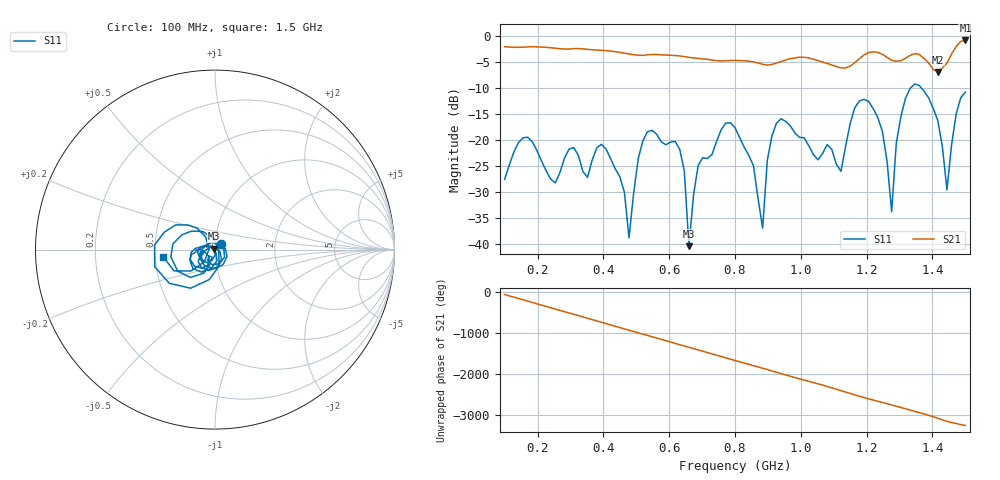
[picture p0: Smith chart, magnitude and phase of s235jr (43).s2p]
! NanoVNA-App
! Date: 2025-09-25 15:04:29
! Start: 100MHz Stop: 1,5GHz Points: 101
! S-Parameter data: F S11 S21 S12 S22
# Hz S RI R 50
!  Frequency  S11_Real  S11_Imag  S21_Real  S21_Imag  S12_Real  S12_Imag  S22_Real  S22_Imag
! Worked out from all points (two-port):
!   101 points, 100 MHz to 1.5 GHz, reference 50 ohm
!   highest |S21| = -0.76 dB at 1.5 GHz (marker M1); lowest = -6.8 dB at 1.416 GHz (marker M2)
!   |S21| within 3 dB of the highest: start of sweep to 634.7 MHz; 1.188 GHz to 1.256 GHz (68.02 MHz wide, 5.57 % of centre) (the widest 2 of 4)
!   lowest |S11| = -40.3 dB at 660 MHz (marker M3), VSWR 1.02, Z = 49.2 + j0.569 ohm
!   |S11| at or under -10 dB: start of sweep to 1.332 GHz; 1.368 GHz to end of sweep
!   S12 and S22 are empty: the file has one direction only
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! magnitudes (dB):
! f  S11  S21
! 100 MHz  -27.5  -2.0
! 170 MHz  -19.4  -2.0
! 338 MHz  -26.0  -2.4
! 408 MHz  -21.6  -2.7
! 478 MHz  -38.7  -3.4
! 520 MHz  -20.1  -3.6
! 576 MHz  -20.2  -3.5
! 632 MHz  -21.7  -3.7
! 660 MHz  -40.3  -4.0
! 688 MHz  -24.8  -4.2
! 800 MHz  -17.6  -4.6
! 884 MHz  -36.9  -5.3
! 926 MHz  -16.7  -5.1
! 1.038 GHz  -22.7  -4.4
! 1.122 GHz  -25.9  -6.1
! 1.206 GHz  -12.5  -3.1
! 1.276 GHz  -33.7  -4.6
! 1.29 GHz  -20.5  -4.8
! 1.332 GHz  -10.0  -3.6
! 1.416 GHz  -16.1  -6.8
! 1.444 GHz  -29.5  -5.1
! 1.5 GHz  -10.7  -0.8
